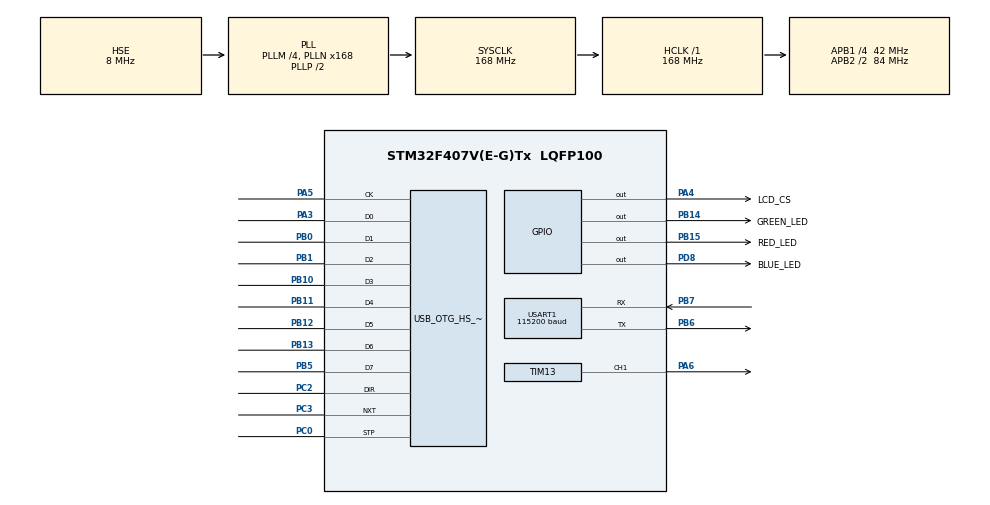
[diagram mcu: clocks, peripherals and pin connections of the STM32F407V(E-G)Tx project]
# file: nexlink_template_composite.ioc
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Dma.Request0=USART1_RX
Dma.Request1=USART1_TX
Dma.USART1_RX.0.Direction=DMA_PERIPH_TO_MEMORY
Dma.USART1_RX.0.FIFOMode=DMA_FIFOMODE_DISABLE
Dma.USART1_RX.0.Instance=DMA2_Stream2
Dma.USART1_RX.0.MemDataAlignment=DMA_MDATAALIGN_BYTE
Dma.USART1_RX.0.MemInc=DMA_MINC_ENABLE
Dma.USART1_RX.0.Mode=DMA_NORMAL
Dma.USART1_RX.0.PeriphDataAlignment=DMA_PDATAALIGN_BYTE
Dma.USART1_RX.0.PeriphInc=DMA_PINC_DISABLE
Dma.USART1_RX.0.Priority=DMA_PRIORITY_MEDIUM
Dma.USART1_TX.1.Direction=DMA_MEMORY_TO_PERIPH
Dma.USART1_TX.1.FIFOMode=DMA_FIFOMODE_DISABLE
Dma.USART1_TX.1.Instance=DMA2_Stream7
Dma.USART1_TX.1.MemDataAlignment=DMA_MDATAALIGN_BYTE
Dma.USART1_TX.1.MemInc=DMA_MINC_ENABLE
Dma.USART1_TX.1.Mode=DMA_NORMAL
Dma.USART1_TX.1.PeriphDataAlignment=DMA_PDATAALIGN_BYTE
Dma.USART1_TX.1.PeriphInc=DMA_PINC_DISABLE
Dma.USART1_TX.1.Priority=DMA_PRIORITY_MEDIUM
FREERTOS.Tasks01=defaultTask,0,128,StartDefaultTask,Default,NULL,Dynamic,NULL,NULL
Mcu.Family=STM32F4
Mcu.Name=STM32F407V(E-G)Tx
Mcu.Package=LQFP100
NVIC.DMA2_Stream2_IRQn=true\:5\:0\:false\:false\:true\:true\:false\:true\:true
NVIC.DMA2_Stream7_IRQn=true\:5\:0\:false\:false\:true\:true\:false\:true\:true
NVIC.OTG_HS_IRQn=true\:5\:0\:false\:false\:true\:true\:false\:true\:true
NVIC.PriorityGroup=NVIC_PRIORITYGROUP_4
NVIC.TIM3_IRQn=true\:5\:0\:false\:false\:true\:true\:true\:true\:true
NVIC.TIM5_IRQn=true\:15\:0\:false\:false\:true\:false\:false\:true\:true
NVIC.TimeBase=TIM5_IRQn
NVIC.TimeBaseIP=TIM5
NVIC.USART1_IRQn=true\:5\:0\:false\:false\:true\:true\:true\:true\:true
PA13.Mode=Serial_Wire
PA13.Signal=SYS_JTMS-SWDIO
PA14.Mode=Serial_Wire
PA14.Signal=SYS_JTCK-SWCLK
PA3.Mode=Device_HS
PA3.Signal=USB_OTG_HS_ULPI_D0
PA4.GPIO_Label=LCD_CS
PA4.GPIO_ModeDefaultOutputPP=GPIO_MODE_OUTPUT_PP
PA4.GPIO_PuPd=GPIO_PULLUP
PA4.GPIO_Speed=GPIO_SPEED_FREQ_VERY_HIGH
PA4.PinState=GPIO_PIN_SET
PA4.Signal=GPIO_Output
PA5.Mode=Device_HS
PA5.Signal=USB_OTG_HS_ULPI_CK
PA6.Signal=S_TIM13_CH1
PB0.Mode=Device_HS
PB0.Signal=USB_OTG_HS_ULPI_D1
PB1.Mode=Device_HS
PB1.Signal=USB_OTG_HS_ULPI_D2
PB10.Mode=Device_HS
PB10.Signal=USB_OTG_HS_ULPI_D3
PB11.Mode=Device_HS
PB11.Signal=USB_OTG_HS_ULPI_D4
PB12.Mode=Device_HS
PB12.Signal=USB_OTG_HS_ULPI_D5
PB13.Mode=Device_HS
PB13.Signal=USB_OTG_HS_ULPI_D6
PB14.GPIO_Label=GREEN_LED
PB14.GPIO_ModeDefaultOutputPP=GPIO_MODE_OUTPUT_PP
PB14.GPIO_PuPd=GPIO_PULLUP
PB14.GPIO_Speed=GPIO_SPEED_FREQ_LOW
PB14.PinState=GPIO_PIN_RESET
PB14.Signal=GPIO_Output
PB15.GPIO_Label=RED_LED
PB15.GPIO_ModeDefaultOutputPP=GPIO_MODE_OUTPUT_PP
PB15.GPIO_PuPd=GPIO_PULLUP
PB15.GPIO_Speed=GPIO_SPEED_FREQ_LOW
PB15.PinState=GPIO_PIN_RESET
PB15.Signal=GPIO_Output
PB5.Mode=Device_HS
PB5.Signal=USB_OTG_HS_ULPI_D7
PB6.Mode=Asynchronous
PB6.Signal=USART1_TX
PB7.Mode=Asynchronous
PB7.Signal=USART1_RX
PC0.Mode=Device_HS
PC0.Signal=USB_OTG_HS_ULPI_STP
PC14-OSC32_IN.Mode=LSE-External-Oscillator
PC14-OSC32_IN.Signal=RCC_OSC32_IN
PC15-OSC32_OUT.Mode=LSE-External-Oscillator
PC15-OSC32_OUT.Signal=RCC_OSC32_OUT
PC2.Mode=Device_HS
PC2.Signal=USB_OTG_HS_ULPI_DIR
PC3.Mode=Device_HS
PC3.Signal=USB_OTG_HS_ULPI_NXT
PD8.GPIO_Label=BLUE_LED
PD8.GPIO_ModeDefaultOutputPP=GPIO_MODE_OUTPUT_PP
PD8.GPIO_PuPd=GPIO_PULLUP
PD8.GPIO_Speed=GPIO_SPEED_FREQ_LOW
PD8.PinState=GPIO_PIN_RESET
PD8.Signal=GPIO_Output
PH0-OSC_IN.Mode=HSE-External-Oscillator
PH0-OSC_IN.Signal=RCC_OSC_IN
PH1-OSC_OUT.Mode=HSE-External-Oscillator
PH1-OSC_OUT.Signal=RCC_OSC_OUT
ProjectManager.HeapSize=0x800
ProjectManager.StackSize=0x1000
ProjectManager.TargetToolchain=MDK-ARM V5.32
RCC.48MHZClocksFreq_Value=48000000
RCC.AHBFreq_Value=168000000
RCC.APB1CLKDivider=RCC_HCLK_DIV4
RCC.APB1Freq_Value=42000000
RCC.APB1TimFreq_Value=84000000
RCC.APB2CLKDivider=RCC_HCLK_DIV2
RCC.APB2Freq_Value=84000000
RCC.APB2TimFreq_Value=168000000
RCC.CortexFreq_Value=168000000
RCC.HCLKFreq_Value=168000000
RCC.HSE_VALUE=8000000
RCC.HSI_VALUE=16000000
RCC.PLLM=4
RCC.PLLN=168
RCC.PLLQ=7
RCC.PLLSourceVirtual=RCC_PLLSOURCE_HSE
RCC.SYSCLKFreq_VALUE=168000000
RCC.SYSCLKSource=RCC_SYSCLKSOURCE_PLLCLK
RCC.VCOOutputFreq_Value=336000000
RTC.Format=RTC_FORMAT_BIN
SH.S_TIM13_CH1.0=TIM13_CH1,PWM Generation1 CH1
TIM13.Channel=TIM_CHANNEL_1
TIM13.OCPolarity_1=TIM_OCPOLARITY_HIGH
TIM13.Period=1000-1
TIM13.Prescaler=84-1
TIM13.Pulse=0
TIM3.Period=999
TIM3.Prescaler=84-1
USART1.BaudRate=115200
USART1.VirtualMode=VM_ASYNC
USB_DEVICE.CLASS_NAME_HS=CDC
USB_DEVICE.VirtualMode-CDC_HS=Cdc
USB_DEVICE.VirtualModeHS=Cdc_HS
USB_OTG_HS.VirtualMode-Device_HS=Device_HS
VP_CRC_VS_CRC.Mode=CRC_Activate
VP_FREERTOS_VS_CMSIS_V1.Mode=CMSIS_V1
VP_RNG_VS_RNG.Mode=RNG_Activate
VP_RTC_VS_RTC_Activate.Mode=RTC_Enabled
VP_RTC_VS_RTC_Calendar.Mode=RTC_Calendar
VP_SYS_VS_tim5.Mode=TIM5
VP_TIM13_VS_ClockSourceINT.Mode=Enable_Timer
VP_TIM3_VS_ClockSourceINT.Mode=Internal
VP_USB_DEVICE_VS_USB_DEVICE_CDC_HS.Mode=CDC_HS
board=custom

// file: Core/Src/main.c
/* USER CODE BEGIN Header */
/**
  ******************************************************************************
  * @file           : main.c
  * @brief          : Main program body
  ******************************************************************************
  * @attention
  *
  * Copyright (c) 2024 STMicroelectronics.
  * All rights reserved.
  *
  * This software is licensed under terms that can be found in the LICENSE file
  * in the root directory of this software component.
  * If no LICENSE file comes with this software, it is provided AS-IS.
  *
  ******************************************************************************
  */
/* USER CODE END Header */
#include "main.h"
#include "cmsis_os.h"
#include "crc.h"
#include "dma.h"
#include "rng.h"
#include "rtc.h"
#include "tim.h"
#include "usart.h"
#include "gpio.h"

/* USER CODE BEGIN Includes */

#include <stdarg.h>
#include "usbd_def.h"
#include "usbd_desc.h"
#include "usbd_core.h"
#include "usbd_nex_link.h"
#include "FreeRTOS.h"
#include "queue.h"
#include "usart.h"
#include "usbd_composite.h"
/* USER CODE END Includes */

/* USER CODE BEGIN PV */
USBD_HandleTypeDef hUSB;
/* USER CODE END PV */

void SystemClock_Config(void);
void MX_FREERTOS_Init(void);

/* USER CODE BEGIN 0 */

void MX_USB_DEVICE_Init()
{
#ifdef FUSB
  USBD_Init(&hUSB, &FS_Desc, DEVICE_FS);
#else
  USBD_Init(&hUSB, &FS_Desc, DEVICE_HS);
#endif
  USBD_RegisterClass(&hUSB, &USBD_COMPOSITE_ClassDriver);
  USBD_Start(&hUSB);
}

/* USER CODE END 0 */

int main(void)
{
  /* USER CODE BEGIN 1 */
    __enable_irq();
  /* USER CODE END 1 */

  /* MCU Configuration--------------------------------------------------------*/

  /* Reset of all peripherals, Initializes the Flash interface and the Systick. */
  HAL_Init();

  /* Configure the system clock */
  SystemClock_Config();

  /* Initialize all configured peripherals */
  MX_GPIO_Init();
//  MX_USART1_UART_Init();
  MX_TIM13_Init();
  MX_CRC_Init();
  MX_RNG_Init();
  MX_DMA_Init();
  MX_RTC_Init();
  MX_TIM3_Init();
  /* USER CODE BEGIN 2 */
  MX_USART1_UART_Init();

  HAL_UARTEx_ReceiveToIdle_DMA(&huart1, Uart_Recv1_Buf, Uart_Max_Length);
  /* USER CODE END 2 */

  /* Call init function for freertos objects (in freertos.c) */
  MX_FREERTOS_Init();

  /* Start scheduler */
  osKernelStart();

  /* We should never get here as control is now taken by the scheduler */
  /* Infinite loop */
  while (1)
  {

    /* USER CODE BEGIN 3 */
//		HAL_Delay(10000);
  }
  /* USER CODE END 3 */
}

void SystemClock_Config(void)
{
  RCC_OscInitTypeDef RCC_OscInitStruct = {0};
  RCC_ClkInitTypeDef RCC_ClkInitStruct = {0};

  /** Configure the main internal regulator output voltage
  */
  __HAL_RCC_PWR_CLK_ENABLE();
  __HAL_PWR_VOLTAGESCALING_CONFIG(PWR_REGULATOR_VOLTAGE_SCALE1);

  /** Initializes the RCC Oscillators according to the specified parameters
  * in the RCC_OscInitTypeDef structure.
  */
  RCC_OscInitStruct.OscillatorType = RCC_OSCILLATORTYPE_LSI|RCC_OSCILLATORTYPE_HSE;
  RCC_OscInitStruct.HSEState = RCC_HSE_ON;
  RCC_OscInitStruct.LSIState = RCC_LSI_ON;
  RCC_OscInitStruct.PLL.PLLState = RCC_PLL_ON;
  RCC_OscInitStruct.PLL.PLLSource = RCC_PLLSOURCE_HSE;
  RCC_OscInitStruct.PLL.PLLM = 4;
  RCC_OscInitStruct.PLL.PLLN = 168;
  RCC_OscInitStruct.PLL.PLLP = RCC_PLLP_DIV2;
  RCC_OscInitStruct.PLL.PLLQ = 7;
  if (HAL_RCC_OscConfig(&RCC_OscInitStruct) != HAL_OK)
  {
    Error_Handler();
  }

  /** Initializes the CPU, AHB and APB buses clocks
  */
  RCC_ClkInitStruct.ClockType = RCC_CLOCKTYPE_HCLK|RCC_CLOCKTYPE_SYSCLK
                              |RCC_CLOCKTYPE_PCLK1|RCC_CLOCKTYPE_PCLK2;
  RCC_ClkInitStruct.SYSCLKSource = RCC_SYSCLKSOURCE_PLLCLK;
  RCC_ClkInitStruct.AHBCLKDivider = RCC_SYSCLK_DIV1;
  RCC_ClkInitStruct.APB1CLKDivider = RCC_HCLK_DIV4;
  RCC_ClkInitStruct.APB2CLKDivider = RCC_HCLK_DIV2;

  if (HAL_RCC_ClockConfig(&RCC_ClkInitStruct, FLASH_LATENCY_5) != HAL_OK)
  {
    Error_Handler();
  }
}

void HAL_TIM_PeriodElapsedCallback(TIM_HandleTypeDef *htim)
{
  if (htim->Instance == TIM5) {
    HAL_IncTick();
  }
}

void Error_Handler(void)
{
  __disable_irq();
  while (1)
  {
  }
}

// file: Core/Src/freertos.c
/* USER CODE BEGIN Header */
/**
  ******************************************************************************
  * File Name          : freertos.c
  * Description        : Code for freertos applications
  ******************************************************************************
  * @attention
  *
  * Copyright (c) 2024 STMicroelectronics.
  * All rights reserved.
  *
  * This software is licensed under terms that can be found in the LICENSE file
  * in the root directory of this software component.
  * If no LICENSE file comes with this software, it is provided AS-IS.
  *
  ******************************************************************************
  */
/* USER CODE END Header */

#include "FreeRTOS.h"
#include "task.h"
#include "main.h"
#include "cmsis_os.h"

/* USER CODE BEGIN Includes */
#include "usart.h"
#include "string.h"
#include "rtc.h"
#include "stdio.h"
#include "stdbool.h"
#include "usbd_nex_link.h"
#include "nexlink_tasks.h"
#include "nexlink_app.h"
/* USER CODE END Includes */

osThreadId defaultTaskHandle;

/* USER CODE BEGIN FunctionPrototypes */

void StartResponseTask(void const * argument);
/* USER CODE END FunctionPrototypes */

void StartDefaultTask(void const * argument);

extern void MX_USB_DEVICE_Init(void);
void MX_FREERTOS_Init(void); /* (MISRA C 2004 rule 8.1) */

/* GetIdleTaskMemory prototype (linked to static allocation support) */
void vApplicationGetIdleTaskMemory( StaticTask_t **ppxIdleTaskTCBBuffer, StackType_t **ppxIdleTaskStackBuffer, uint32_t *pulIdleTaskStackSize );

/* USER CODE BEGIN GET_IDLE_TASK_MEMORY */
static StaticTask_t xIdleTaskTCBBuffer;
static StackType_t xIdleStack[configMINIMAL_STACK_SIZE];

void vApplicationGetIdleTaskMemory( StaticTask_t **ppxIdleTaskTCBBuffer, StackType_t **ppxIdleTaskStackBuffer, uint32_t *pulIdleTaskStackSize )
{
  *ppxIdleTaskTCBBuffer = &xIdleTaskTCBBuffer;
  *ppxIdleTaskStackBuffer = &xIdleStack[0];
  *pulIdleTaskStackSize = configMINIMAL_STACK_SIZE;
  /* place for user code */
}
int datalen;
/* USER CODE END GET_IDLE_TASK_MEMORY */

void MX_FREERTOS_Init(void) {

  /* Create the thread(s) */
  /* definition and creation of defaultTask */
  osThreadDef(defaultTask, StartDefaultTask, osPriorityNormal, 0, 128);
  defaultTaskHandle = osThreadCreate(osThread(defaultTask), NULL);

}

void StartDefaultTask(void const * argument)
{
  /* init code for USB_DEVICE */
	static int count = 0;
	MX_USB_DEVICE_Init();

	osDelay(200);

	NexLinkInit();
  /* USER CODE BEGIN StartDefaultTask */
  /* Infinite loop */
  for(;;)
  {
    osDelay(1000);
  	nexlink_log("test log: %d", count++);
  }
  /* USER CODE END StartDefaultTask */
}

/* USER CODE BEGIN Application */
void StartResponseTask(void const * argument)
{
  for(;;)
  {
    osDelay(1000);
	}
}

void HAL_UARTEx_RxEventCallback(UART_HandleTypeDef* huart, uint16_t Size)
{
  if(&huart1 == huart)
  {
  }
}

/* USER CODE END Application */
